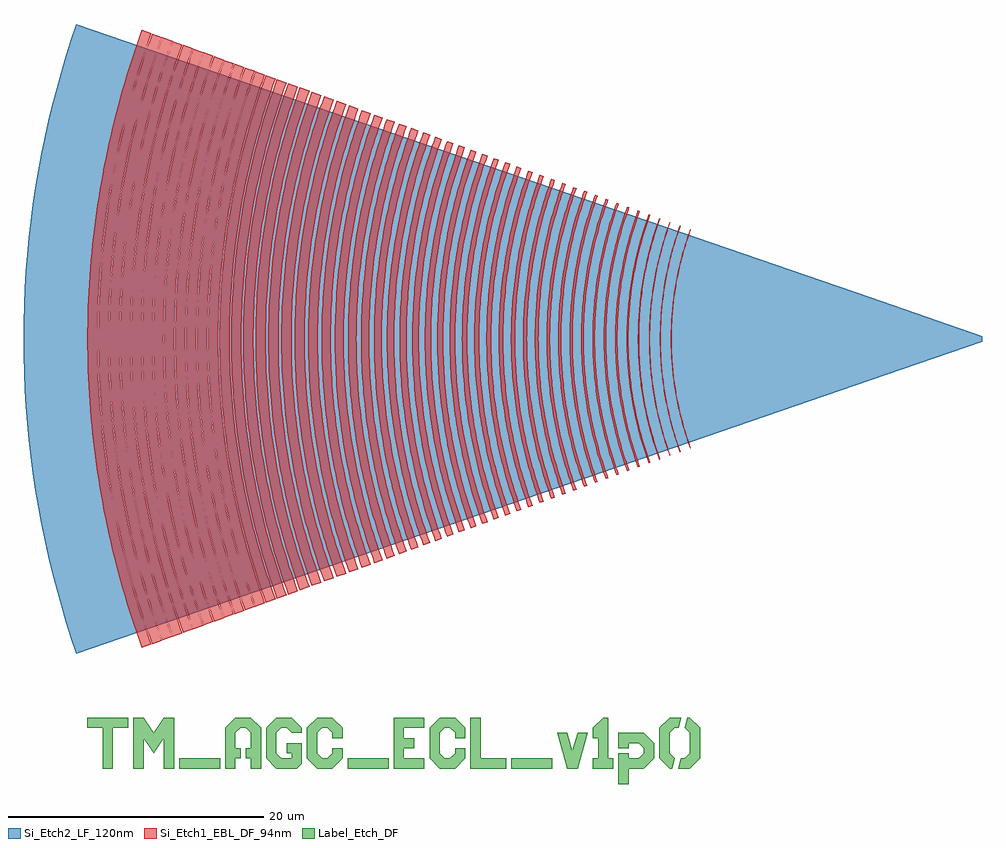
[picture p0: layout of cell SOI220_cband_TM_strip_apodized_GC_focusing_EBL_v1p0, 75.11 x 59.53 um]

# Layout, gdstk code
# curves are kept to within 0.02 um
import gdstk
lib = gdstk.Library(unit=1e-6, precision=1e-09)
def R(c, l, rs):  # rectangles x0, y0, x1, y1
    for r in rs: c.add(gdstk.rectangle(r[:2], r[2:], *l))
def P(c, l, *ps):  # polygons
    for p in ps: c.add(gdstk.Polygon(p, *l))
Si_Etch2_LF_120nm = (3, 0)
Si_Etch1_EBL_DF_94nm = (60, 0)
Label_Etch_DF = (100, 0)

text_gdsfactorypcomponen = lib.new_cell('text_gdsfactorypcomponentsptextsptext_TTM_AGC_ECL_v1p0__5491b286')
R(text_gdsfactorypcomponen, Label_Etch_DF, [(7.6,0,10.8,0.8), (20.8,0,24,0.8), (33.6,0,36.8,0.8)])
P(text_gdsfactorypcomponen, Label_Etch_DF, [(38,0),(37.2,2.8),(38,2.8),(38.4,1.4),(38.8,2.8),(39.6,2.8),(38.8,0)],
  [(42,-1.2),(42,1.2),(42.8,1.2),(42.8,0.8),(43.6,0.8),(44,1.2),(44,1.6),(43.6,2),(42.8,2),(42.8,1.6),(42,1.6),(42,2.8),(44,2.8),(44.8,2),(44.8,0.8),(44,0),(42.8,0),(42.8,-1.2)],
  [(1.6,0),(1.6,3.2),(0.4,3.2),(0.4,4),(3.6,4),(3.6,3.2),(2.4,3.2),(2.4,0)],
  [(4,0),(4,4),(4.8,4),(5.6,2.8),(6.4,4),(7.2,4),(7.2,0),(6.4,0),(6.4,2.4),(5.6,1.2),(4.8,2.4),(4.8,0)],
  [(11.196,0),(11.2,3.2),(12,4),(13.204,4),(14,3.2),(14,0),(13.204,0),(13.204,0.8),(12.8,0.8),(12.8,1.6),(13.204,1.6),(13.204,2.8),(12.8,3.2),(12.4,3.2),(12,2.8),(12,1.6),(12.4,1.6),(12.4,0.8),(12,0.8),(12,0)],
  [(15.2,0),(14.4,0.8),(14.4,3.2),(15.2,4),(16.4,4),(17.2,3.2),(17.2,2.8),(16.4,2.8),(16,3.2),(15.6,3.2),(15.2,2.8),(15.2,1.2),(15.6,0.8),(16.4,0.8),(16.4,1.2),(16,1.2),(16,2),(17.2,2),(17.2,0.4),(16.8,0)],
  [(18.4,0),(17.6,0.8),(17.6,3.2),(18.4,4),(19.6,4),(20.4,3.2),(20.4,2.4),(19.6,2.4),(19.6,2.8),(19.2,3.2),(18.8,3.2),(18.4,2.8),(18.4,1.2),(18.8,0.8),(19.2,0.8),(19.6,1.2),(19.6,1.6),(20.4,1.6),(20.4,0.8),(19.6,0)],
  [(24.4,0),(24.4,4),(26.8,4),(26.8,3.2),(25.2,3.2),(25.2,2.4),(26,2.4),(26,1.6),(25.2,1.6),(25.2,0.8),(26.8,0.8),(26.8,0)],
  [(28,0),(27.2,0.8),(27.2,3.2),(28,4),(29.2,4),(30,3.2),(30,2.4),(29.2,2.4),(29.2,2.8),(28.8,3.2),(28.4,3.2),(28,2.8),(28,1.2),(28.4,0.8),(28.8,0.8),(29.2,1.2),(29.2,1.6),(30,1.6),(30,0.8),(29.2,0)],
  [(30.4,0),(30.4,4),(31.2,4),(31.2,0.8),(33.2,0.8),(33.2,0)],
  [(40,0),(40,0.8),(40.4,0.8),(40.4,2.4),(40,2.4),(40,3.2),(40.8,4),(41.2,4),(41.2,0.8),(41.6,0.8),(41.6,0)],
  [(46,0),(45.2,0.8),(45.2,3.2),(46,4),(46.92,4),(46.72,3.2),(46.4,3.2),(46,2.8),(46,1.2),(46.4,0.8),(46.2,0)],
  [(46.68,0),(46.88,0.8),(47.2,0.8),(47.6,1.2),(47.6,2.8),(47.2,3.2),(47.4,4),(47.6,4),(48.4,3.2),(48.4,0.8),(47.6,0)])

soi220_cband_tm_strip_ap = lib.new_cell('SOI220_cband_TM_strip_apodized_GC_focusing_EBL_v1p0')
P(soi220_cband_tm_strip_ap, Si_Etch2_LF_120nm, [(-70.984,-24.667),(-71.801,-22.152),(-72.53,-19.609),(-73.17,-17.043),(-73.72,-14.457),(-73.961,-13.156),(-74.375,-10.544),(-74.697,-7.92),(-74.824,-6.603),(-75.008,-3.965),(-75.066,-2.644),(-75.112,0),(-75.066,2.644),(-75.008,3.965),(-74.824,6.603),(-74.697,7.92),(-74.375,10.544),(-73.961,13.156),(-73.72,14.457),(-73.17,17.043),(-72.53,19.609),(-71.801,22.152),(-70.984,24.667),(0,0.225),(0,-0.225)])
P(soi220_cband_tm_strip_ap, Si_Etch1_EBL_DF_94nm, [(-22.895,-8.571),(-23.042,-8.159),(-23.247,-7.536),(-23.437,-6.908),(-23.553,-6.486),(-23.813,-5.424),(-23.947,-4.781),(-24.026,-4.351),(-24.131,-3.704),(-24.221,-3.054),(-24.312,-2.184),(-24.383,-1.093),(-24.407,0),(-24.383,1.093),(-24.312,2.184),(-24.221,3.054),(-24.131,3.704),(-24.026,4.351),(-23.947,4.781),(-23.813,5.424),(-23.553,6.486),(-23.437,6.908),(-23.247,7.536),(-23.042,8.159),(-22.895,8.571),(-22.839,8.551),(-23.055,7.933),(-23.255,7.309),(-23.438,6.681),(-23.604,6.048),(-23.801,5.198),(-24.004,4.126),(-24.161,3.047),(-24.252,2.179),(-24.323,1.09),(-24.347,0),(-24.323,-1.09),(-24.252,-2.179),(-24.161,-3.047),(-24.004,-4.126),(-23.801,-5.198),(-23.604,-6.048),(-23.438,-6.681),(-23.255,-7.309),(-23.055,-7.933),(-22.839,-8.551)],
  [(-23.702,-8.864),(-23.925,-8.224),(-24.064,-7.793),(-24.197,-7.361),(-24.381,-6.707),(-24.65,-5.609),(-24.744,-5.167),(-24.87,-4.5),(-24.945,-4.054),(-25.042,-3.383),(-25.098,-2.934),(-25.166,-2.259),(-25.216,-1.583),(-25.239,-1.131),(-25.255,-0.679),(-25.264,0),(-25.255,0.679),(-25.239,1.131),(-25.216,1.583),(-25.166,2.259),(-25.098,2.934),(-25.042,3.383),(-24.945,4.054),(-24.87,4.5),(-24.744,5.167),(-24.65,5.609),(-24.381,6.707),(-24.197,7.361),(-24.064,7.793),(-23.925,8.224),(-23.702,8.864),(-23.645,8.844),(-23.868,8.205),(-24.074,7.56),(-24.264,6.91),(-24.436,6.255),(-24.685,5.155),(-24.849,4.268),(-24.983,3.375),(-25.106,2.254),(-25.156,1.579),(-25.179,1.128),(-25.195,0.677),(-25.204,0),(-25.195,-0.677),(-25.179,-1.128),(-25.156,-1.579),(-25.106,-2.254),(-24.983,-3.375),(-24.849,-4.268),(-24.685,-5.155),(-24.436,-6.255),(-24.264,-6.91),(-24.074,-7.56),(-23.868,-8.205),(-23.645,-8.844)],
  [(-24.496,-9.153),(-24.726,-8.492),(-24.87,-8.047),(-25.073,-7.377),(-25.197,-6.926),(-25.314,-6.475),(-25.475,-5.792),(-25.572,-5.336),(-25.702,-4.647),(-25.815,-3.956),(-25.88,-3.493),(-25.963,-2.797),(-26.007,-2.332),(-26.044,-1.867),(-26.084,-1.168),(-26.1,-0.701),(-26.109,0),(-26.1,0.701),(-26.084,1.168),(-26.044,1.867),(-26.007,2.332),(-25.963,2.797),(-25.88,3.493),(-25.815,3.956),(-25.702,4.647),(-25.572,5.336),(-25.475,5.792),(-25.314,6.475),(-25.197,6.926),(-25.073,7.377),(-24.87,8.047),(-24.726,8.492),(-24.496,9.153),(-24.439,9.133),(-24.669,8.473),(-24.882,7.807),(-25.078,7.136),(-25.256,6.46),(-25.365,6.007),(-25.513,5.324),(-25.683,4.407),(-25.756,3.947),(-25.85,3.254),(-25.903,2.791),(-25.967,2.095),(-26.024,1.165),(-26.04,0.699),(-26.049,0),(-26.045,-0.466),(-26.024,-1.165),(-25.967,-2.095),(-25.903,-2.791),(-25.85,-3.254),(-25.756,-3.947),(-25.683,-4.407),(-25.513,-5.324),(-25.365,-6.007),(-25.256,-6.46),(-25.078,-7.136),(-24.882,-7.807),(-24.669,-8.473),(-24.439,-9.133)],
  [(-25.317,-9.453),(-25.705,-8.31),(-26.042,-7.153),(-26.329,-5.982),(-26.564,-4.8),(-26.747,-3.607),(-26.879,-2.408),(-26.958,-1.206),(-26.984,0),(-26.958,1.206),(-26.879,2.408),(-26.747,3.607),(-26.564,4.8),(-26.329,5.982),(-26.042,7.153),(-25.705,8.31),(-25.317,9.453),(-25.238,9.424),(-25.625,8.285),(-25.961,7.131),(-26.247,5.964),(-26.394,5.257),(-26.522,4.548),(-26.695,3.358),(-26.815,2.162),(-26.874,1.202),(-26.9,0),(-26.874,-1.202),(-26.815,-2.162),(-26.695,-3.358),(-26.522,-4.548),(-26.394,-5.257),(-26.247,-5.964),(-25.961,-7.131),(-25.625,-8.285),(-25.238,-9.424)],
  [(-26.146,-9.754),(-26.546,-8.576),(-26.895,-7.381),(-27.19,-6.173),(-27.433,-4.952),(-27.622,-3.722),(-27.758,-2.485),(-27.839,-1.244),(-27.866,0),(-27.839,1.244),(-27.758,2.485),(-27.622,3.722),(-27.433,4.952),(-27.19,6.173),(-26.895,7.381),(-26.546,8.576),(-26.146,9.754),(-26.022,9.709),(-26.494,8.3),(-26.83,7.108),(-27.114,5.902),(-27.385,4.441),(-27.552,3.213),(-27.646,2.227),(-27.717,0.991),(-27.734,0),(-27.717,-0.991),(-27.646,-2.227),(-27.552,-3.213),(-27.385,-4.441),(-27.114,-5.902),(-26.83,-7.108),(-26.494,-8.3),(-26.022,-9.709)],
  [(-26.988,-10.06),(-27.477,-8.601),(-27.759,-7.613),(-28.065,-6.367),(-28.315,-5.108),(-28.511,-3.84),(-28.65,-2.564),(-28.734,-1.283),(-28.762,0),(-28.734,1.283),(-28.65,2.564),(-28.511,3.84),(-28.315,5.108),(-28.065,6.367),(-27.759,7.613),(-27.477,8.601),(-26.988,10.06),(-26.832,10.004),(-27.318,8.552),(-27.664,7.323),(-27.957,6.081),(-28.236,4.576),(-28.378,3.565),(-28.506,2.295),(-28.568,1.276),(-28.596,0),(-28.578,-1.021),(-28.506,-2.295),(-28.378,-3.565),(-28.236,-4.576),(-27.957,-6.081),(-27.664,-7.323),(-27.318,-8.552),(-26.832,-10.004)],
  [(-27.829,-10.366),(-28.255,-9.115),(-28.624,-7.845),(-28.939,-6.56),(-29.196,-5.264),(-29.397,-3.956),(-29.541,-2.642),(-29.628,-1.322),(-29.657,0),(-29.628,1.322),(-29.541,2.642),(-29.397,3.956),(-29.196,5.264),(-28.939,6.56),(-28.624,7.845),(-28.255,9.115),(-27.829,10.366),(-27.659,10.305),(-28.16,8.809),(-28.516,7.544),(-28.818,6.264),(-29.105,4.713),(-29.282,3.411),(-29.383,2.364),(-29.458,1.051),(-29.476,0),(-29.458,-1.051),(-29.383,-2.364),(-29.282,-3.411),(-29.105,-4.713),(-28.818,-6.264),(-28.516,-7.544),(-28.16,-8.809),(-27.659,-10.305)],
  [(-28.657,-10.667),(-29.095,-9.379),(-29.475,-8.072),(-29.799,-6.751),(-30.064,-5.416),(-30.271,-4.071),(-30.419,-2.719),(-30.508,-1.361),(-30.538,0),(-30.508,1.361),(-30.419,2.719),(-30.271,4.071),(-30.064,5.416),(-29.799,6.751),(-29.475,8.072),(-29.095,9.379),(-28.657,10.667),(-28.485,10.605),(-28.92,9.324),(-29.367,7.764),(-29.733,6.182),(-29.973,4.851),(-30.156,3.51),(-30.259,2.433),(-30.336,1.082),(-30.355,0),(-30.336,-1.082),(-30.259,-2.433),(-30.156,-3.51),(-29.973,-4.851),(-29.733,-6.182),(-29.367,-7.764),(-28.92,-9.324),(-28.485,-10.605)],
  [(-29.501,-10.974),(-29.951,-9.65),(-30.342,-8.305),(-30.675,-6.946),(-30.949,-5.572),(-31.161,-4.188),(-31.314,-2.797),(-31.406,-1.4),(-31.436,0),(-31.406,1.4),(-31.314,2.797),(-31.161,4.188),(-30.949,5.572),(-30.675,6.946),(-30.342,8.305),(-29.951,9.65),(-29.501,10.974),(-29.311,10.906),(-29.841,9.323),(-30.218,7.984),(-30.594,6.357),(-30.841,4.988),(-31.029,3.61),(-31.136,2.502),(-31.215,1.113),(-31.234,0),(-31.215,-1.113),(-31.136,-2.502),(-31.029,-3.61),(-30.841,-4.988),(-30.594,-6.357),(-30.218,-7.984),(-29.841,-9.323),(-29.311,-10.906)],
  [(-30.347,-11.282),(-30.81,-9.92),(-31.212,-8.538),(-31.554,-7.14),(-31.835,-5.728),(-32.054,-4.307),(-32.21,-2.876),(-32.305,-1.439),(-32.336,0),(-32.305,1.439),(-32.21,2.876),(-32.054,4.307),(-31.835,5.728),(-31.554,7.14),(-31.212,8.538),(-30.81,9.92),(-30.347,11.282),(-30.135,11.206),(-30.595,9.852),(-31.067,8.203),(-31.395,6.812),(-31.708,5.125),(-31.867,3.993),(-32.01,2.571),(-32.08,1.429),(-32.111,0),(-32.08,-1.429),(-32.01,-2.571),(-31.867,-3.993),(-31.708,-5.125),(-31.395,-6.812),(-31.067,-8.203),(-30.595,-9.852),(-30.135,-11.206)],
  [(-31.193,-11.59),(-31.668,-10.19),(-32.081,-8.771),(-32.432,-7.335),(-32.721,-5.885),(-32.946,-4.423),(-33.107,-2.954),(-33.204,-1.479),(-33.236,0),(-33.204,1.479),(-33.107,2.954),(-32.946,4.423),(-32.721,5.885),(-32.432,7.335),(-32.081,8.771),(-31.668,10.19),(-31.193,11.59),(-30.967,11.509),(-31.526,9.838),(-31.924,8.425),(-32.261,6.996),(-32.582,5.264),(-32.78,3.809),(-32.892,2.64),(-32.976,1.174),(-32.996,0),(-32.976,-1.174),(-32.892,-2.64),(-32.78,-3.809),(-32.582,-5.264),(-32.261,-6.996),(-31.924,-8.425),(-31.526,-9.838),(-30.967,-11.509)],
  [(-32.04,-11.897),(-32.527,-10.461),(-32.951,-9.005),(-33.313,-7.529),(-33.608,-6.041),(-33.84,-4.541),(-34.005,-3.032),(-34.104,-1.517),(-34.137,0),(-34.104,1.517),(-34.005,3.032),(-33.84,4.541),(-33.608,6.041),(-33.313,7.529),(-32.951,9.005),(-32.527,10.461),(-32.04,11.897),(-31.794,11.81),(-32.278,10.383),(-32.776,8.645),(-33.183,6.884),(-33.497,5.104),(-33.654,3.909),(-33.77,2.709),(-33.855,1.205),(-33.876,0),(-33.855,-1.205),(-33.77,-2.709),(-33.654,-3.909),(-33.497,-5.104),(-33.183,-6.884),(-32.776,-8.645),(-32.278,-10.383),(-31.794,-11.81)],
  [(-32.903,-12.212),(-33.404,-10.738),(-33.84,-9.243),(-34.21,-7.729),(-34.515,-6.201),(-34.752,-4.661),(-34.921,-3.113),(-35.023,-1.557),(-35.057,0),(-35.023,1.557),(-34.921,3.113),(-34.752,4.661),(-34.515,6.201),(-34.21,7.729),(-33.84,9.243),(-33.404,10.738),(-32.903,12.212),(-32.639,12.117),(-33.136,10.654),(-33.648,8.871),(-34.065,7.063),(-34.387,5.237),(-34.582,3.703),(-34.69,2.471),(-34.754,1.236),(-34.776,0),(-34.754,-1.236),(-34.69,-2.471),(-34.582,-3.703),(-34.387,-5.237),(-34.065,-7.063),(-33.648,-8.871),(-33.136,-10.654),(-32.639,-12.117)],
  [(-33.778,-12.53),(-34.292,-11.018),(-34.738,-9.483),(-35.119,-7.93),(-35.43,-6.362),(-35.673,-4.783),(-35.848,-3.193),(-35.952,-1.599),(-35.987,0),(-35.952,1.599),(-35.848,3.193),(-35.673,4.783),(-35.43,6.362),(-35.119,7.93),(-34.738,9.483),(-34.292,11.018),(-33.778,12.53),(-33.485,12.425),(-34.089,10.622),(-34.597,8.789),(-35.009,6.932),(-35.277,5.37),(-35.477,3.797),(-35.588,2.534),(-35.654,1.268),(-35.676,0),(-35.654,-1.268),(-35.588,-2.534),(-35.477,-3.797),(-35.277,-5.37),(-35.009,-6.932),(-34.597,-8.789),(-34.089,-10.622),(-33.485,-12.425)],
  [(-34.669,-12.855),(-35.196,-11.303),(-35.654,-9.728),(-36.044,-8.136),(-36.364,-6.527),(-36.613,-4.906),(-36.792,-3.276),(-36.9,-1.639),(-36.935,0),(-36.9,1.639),(-36.792,3.276),(-36.613,4.906),(-36.364,6.527),(-36.044,8.136),(-35.654,9.728),(-35.196,11.303),(-34.669,12.855),(-34.358,12.743),(-34.881,11.204),(-35.418,9.329),(-35.857,7.428),(-36.196,5.507),(-36.366,4.218),(-36.49,2.923),(-36.57,1.625),(-36.605,0),(-36.57,-1.625),(-36.49,-2.923),(-36.366,-4.218),(-36.196,-5.507),(-35.857,-7.428),(-35.418,-9.329),(-34.881,-11.204),(-34.358,-12.743)],
  [(-35.567,-13.182),(-36.108,-11.59),(-36.578,-9.976),(-36.977,-8.343),(-37.306,-6.692),(-37.561,-5.031),(-37.745,-3.359),(-37.855,-1.681),(-37.891,0),(-37.855,1.681),(-37.745,3.359),(-37.561,5.031),(-37.306,6.692),(-36.977,8.343),(-36.578,9.976),(-36.108,11.59),(-35.567,13.182),(-35.232,13.061),(-35.768,11.483),(-36.319,9.562),(-36.768,7.613),(-37.116,5.645),(-37.29,4.323),(-37.442,2.664),(-37.512,1.333),(-37.535,0),(-37.512,-1.333),(-37.442,-2.664),(-37.29,-4.323),(-37.116,-5.645),(-36.768,-7.613),(-36.319,-9.562),(-35.768,-11.483),(-35.232,-13.061)],
  [(-36.47,-13.511),(-37.024,-11.879),(-37.506,-10.224),(-37.915,-8.55),(-38.252,-6.86),(-38.514,-5.156),(-38.702,-3.443),(-38.815,-1.724),(-38.852,0),(-38.815,1.724),(-38.702,3.443),(-38.514,5.156),(-38.252,6.86),(-37.915,8.55),(-37.506,10.224),(-37.024,11.879),(-36.47,13.511),(-36.116,13.383),(-36.665,11.766),(-37.23,9.797),(-37.69,7.801),(-38.046,5.784),(-38.262,4.09),(-38.381,2.73),(-38.452,1.366),(-38.476,0),(-38.452,-1.366),(-38.381,-2.73),(-38.262,-4.09),(-38.046,-5.784),(-37.69,-7.801),(-37.23,-9.797),(-36.665,-11.766),(-36.116,-13.383)],
  [(-37.371,-13.837),(-37.938,-12.168),(-38.432,-10.472),(-38.851,-8.757),(-39.195,-7.026),(-39.464,-5.281),(-39.657,-3.526),(-39.772,-1.766),(-39.81,0),(-39.772,1.766),(-39.657,3.526),(-39.464,5.281),(-39.195,7.026),(-38.851,8.757),(-38.432,10.472),(-37.938,12.168),(-37.371,13.837),(-36.999,13.704),(-37.561,12.049),(-38.139,10.032),(-38.611,7.988),(-38.975,5.922),(-39.196,4.188),(-39.317,2.795),(-39.391,1.398),(-39.415,0),(-39.391,-1.398),(-39.317,-2.795),(-39.196,-4.188),(-38.975,-5.922),(-38.611,-7.988),(-38.139,-10.032),(-37.561,-12.049),(-36.999,-13.704)],
  [(-38.271,-14.165),(-38.852,-12.456),(-39.358,-10.721),(-39.787,-8.965),(-40.14,-7.193),(-40.414,-5.406),(-40.611,-3.611),(-40.73,-1.807),(-40.769,0),(-40.73,1.807),(-40.611,3.611),(-40.414,5.406),(-40.14,7.193),(-39.787,8.965),(-39.358,10.721),(-38.852,12.456),(-38.271,14.165),(-37.878,14.024),(-38.453,12.33),(-39.045,10.267),(-39.528,8.175),(-39.901,6.061),(-40.087,4.642),(-40.225,3.217),(-40.312,1.789),(-40.351,0),(-40.312,-1.789),(-40.225,-3.217),(-40.087,-4.642),(-39.901,-6.061),(-39.528,-8.175),(-39.045,-10.267),(-38.453,-12.33),(-37.878,-14.024)],
  [(-39.177,-14.496),(-39.772,-12.746),(-40.289,-10.97),(-40.729,-9.173),(-41.089,-7.36),(-41.37,-5.532),(-41.571,-3.695),(-41.693,-1.849),(-41.733,0),(-41.693,1.849),(-41.571,3.695),(-41.37,5.532),(-41.089,7.36),(-40.729,9.173),(-40.289,10.97),(-39.772,12.746),(-39.177,14.496),(-38.761,14.346),(-39.458,12.263),(-40.045,10.147),(-40.52,8.003),(-40.883,5.837),(-41.061,4.384),(-41.189,2.926),(-41.265,1.464),(-41.291,0),(-41.265,-1.464),(-41.189,-2.926),(-41.061,-4.384),(-40.883,-5.837),(-40.52,-8.003),(-40.045,-10.147),(-39.458,-12.263),(-38.761,-14.346)],
  [(-40.088,-14.827),(-40.696,-13.038),(-41.226,-11.221),(-41.675,-9.384),(-42.044,-7.529),(-42.332,-5.659),(-42.538,-3.779),(-42.662,-1.892),(-42.703,0),(-42.662,1.892),(-42.538,3.779),(-42.332,5.659),(-42.044,7.529),(-41.675,9.384),(-41.226,11.221),(-40.696,13.038),(-40.088,14.827),(-39.649,14.669),(-40.251,12.897),(-40.775,11.1),(-41.219,9.283),(-41.584,7.448),(-41.869,5.598),(-42.073,3.738),(-42.195,1.871),(-42.236,0),(-42.195,-1.871),(-42.073,-3.738),(-41.869,-5.598),(-41.584,-7.448),(-41.219,-9.283),(-40.775,-11.1),(-40.251,-12.897),(-39.649,-14.669)],
  [(-41.007,-15.16),(-41.628,-13.331),(-42.169,-11.475),(-42.629,-9.596),(-43.006,-7.699),(-43.301,-5.786),(-43.511,-3.864),(-43.638,-1.933),(-43.68,0),(-43.638,1.933),(-43.511,3.864),(-43.301,5.786),(-43.006,7.699),(-42.629,9.596),(-42.169,11.475),(-41.628,13.331),(-41.007,15.16),(-40.543,14.994),(-41.158,13.183),(-41.693,11.347),(-42.148,9.489),(-42.521,7.613),(-42.812,5.722),(-43.02,3.821),(-43.145,1.912),(-43.187,0),(-43.145,-1.912),(-43.02,-3.821),(-42.812,-5.722),(-42.521,-7.613),(-42.148,-9.489),(-41.693,-11.347),(-41.158,-13.183),(-40.543,-14.994)],
  [(-41.93,-15.498),(-42.566,-13.628),(-43.119,-11.728),(-43.589,-9.808),(-43.974,-7.869),(-44.276,-5.915),(-44.491,-3.949),(-44.62,-1.977),(-44.663,0),(-44.62,1.977),(-44.491,3.949),(-44.276,5.915),(-43.974,7.869),(-43.589,9.808),(-43.119,11.728),(-42.566,13.628),(-41.93,15.498),(-41.442,15.321),(-42.071,13.471),(-42.618,11.594),(-43.082,9.696),(-43.463,7.779),(-43.761,5.847),(-43.974,3.904),(-44.101,1.954),(-44.144,0),(-44.101,-1.954),(-43.974,-3.904),(-43.761,-5.847),(-43.463,-7.779),(-43.082,-9.696),(-42.618,-11.594),(-42.071,-13.471),(-41.442,-15.321)],
  [(-42.861,-15.836),(-43.51,-13.925),(-44.076,-11.985),(-44.555,-10.022),(-44.95,-8.04),(-45.257,-6.044),(-45.477,-4.036),(-45.608,-2.02),(-45.653,0),(-45.608,2.02),(-45.477,4.036),(-45.257,6.044),(-44.95,8.04),(-44.555,10.022),(-44.076,11.985),(-43.51,13.925),(-42.861,15.836),(-42.347,15.651),(-42.989,13.76),(-43.548,11.844),(-44.022,9.904),(-44.412,7.946),(-44.716,5.973),(-44.933,3.988),(-45.063,1.996),(-45.107,0),(-45.063,-1.996),(-44.933,-3.988),(-44.716,-5.973),(-44.412,-7.946),(-44.022,-9.904),(-43.548,-11.844),(-42.989,-13.76),(-42.347,-15.651)],
  [(-43.799,-16.177),(-44.461,-14.225),(-45.039,-12.244),(-45.529,-10.239),(-45.932,-8.214),(-46.246,-6.174),(-46.471,-4.123),(-46.606,-2.063),(-46.651,0),(-46.606,2.063),(-46.471,4.123),(-46.246,6.174),(-45.932,8.214),(-45.529,10.239),(-45.039,12.244),(-44.461,14.225),(-43.799,16.177),(-43.259,15.983),(-43.914,14.052),(-44.485,12.095),(-44.969,10.114),(-45.367,8.115),(-45.677,6.099),(-45.899,4.073),(-46.033,2.038),(-46.077,0),(-46.033,-2.038),(-45.899,-4.073),(-45.677,-6.099),(-45.367,-8.115),(-44.969,-10.114),(-44.485,-12.095),(-43.914,-14.052),(-43.259,-15.983)],
  [(-44.743,-16.521),(-45.42,-14.527),(-46.01,-12.503),(-46.511,-10.456),(-46.922,-8.389),(-47.243,-6.305),(-47.472,-4.211),(-47.61,-2.107),(-47.656,0),(-47.61,2.107),(-47.472,4.211),(-47.243,6.305),(-46.922,8.389),(-46.511,10.456),(-46.01,12.503),(-45.42,14.527),(-44.743,16.521),(-44.177,16.317),(-44.846,14.346),(-45.428,12.347),(-45.923,10.326),(-46.329,8.284),(-46.646,6.227),(-46.872,4.158),(-47.009,2.081),(-47.054,0),(-47.009,-2.081),(-46.872,-4.158),(-46.646,-6.227),(-46.329,-8.284),(-45.923,-10.326),(-45.428,-12.347),(-44.846,-14.346),(-44.177,-16.317)],
  [(-45.698,-16.867),(-46.388,-14.832),(-46.99,-12.766),(-47.502,-10.676),(-47.921,-8.564),(-48.249,-6.439),(-48.484,-4.299),(-48.624,-2.152),(-48.671,0),(-48.624,2.152),(-48.484,4.299),(-48.249,6.439),(-47.921,8.564),(-47.502,10.676),(-46.99,12.766),(-46.388,14.832),(-45.698,16.867),(-45.103,16.654),(-45.785,14.642),(-46.38,12.602),(-46.885,10.539),(-47.299,8.455),(-47.622,6.356),(-47.854,4.244),(-47.993,2.124),(-48.039,0),(-47.993,-2.124),(-47.854,-4.244),(-47.622,-6.356),(-47.299,-8.455),(-46.885,-10.539),(-46.38,-12.602),(-45.785,-14.642),(-45.103,-16.654)],
  [(-46.659,-17.216),(-47.363,-15.14),(-47.979,-13.03),(-48.5,-10.897),(-48.929,-8.743),(-49.263,-6.572),(-49.502,-4.388),(-49.646,-2.196),(-49.694,0),(-49.646,2.196),(-49.502,4.388),(-49.263,6.572),(-48.929,8.743),(-48.5,10.897),(-47.979,13.03),(-47.363,15.14),(-46.659,17.216),(-46.036,16.993),(-46.732,14.941),(-47.339,12.859),(-47.854,10.754),(-48.277,8.628),(-48.607,6.485),(-48.843,4.33),(-48.985,2.167),(-49.032,0),(-48.985,-2.167),(-48.843,-4.33),(-48.607,-6.485),(-48.277,-8.628),(-47.854,-10.754),(-47.339,-12.859),(-46.732,-14.941),(-46.036,-16.993)],
  [(-47.627,-17.57),(-48.347,-15.45),(-48.974,-13.298),(-49.508,-11.119),(-49.944,-8.922),(-50.285,-6.706),(-50.529,-4.478),(-50.676,-2.241),(-50.725,0),(-50.676,2.241),(-50.529,4.478),(-50.285,6.706),(-49.944,8.922),(-49.508,11.119),(-48.974,13.298),(-48.347,15.45),(-47.627,17.57),(-46.976,17.336),(-47.687,15.242),(-48.306,13.119),(-48.832,10.97),(-49.263,8.802),(-49.599,6.616),(-49.84,4.418),(-49.985,2.211),(-50.033,0),(-49.985,-2.211),(-49.84,-4.418),(-49.599,-6.616),(-49.263,-8.802),(-48.832,-10.97),(-48.306,-13.119),(-47.687,-15.242),(-46.976,-17.336)],
  [(-48.605,-17.926),(-49.34,-15.762),(-49.98,-13.567),(-50.524,-11.345),(-50.97,-9.103),(-51.318,-6.843),(-51.566,-4.569),(-51.716,-2.287),(-51.766,0),(-51.716,2.287),(-51.566,4.569),(-51.318,6.843),(-50.97,9.103),(-50.524,11.345),(-49.98,13.567),(-49.34,15.762),(-48.605,17.926),(-47.924,17.681),(-48.649,15.545),(-49.281,13.38),(-49.817,11.189),(-50.257,8.977),(-50.6,6.748),(-50.845,4.506),(-50.993,2.255),(-51.042,0),(-50.993,-2.255),(-50.845,-4.506),(-50.6,-6.748),(-50.257,-8.977),(-49.817,-11.189),(-49.281,-13.38),(-48.649,-15.545),(-47.924,-17.681)],
  [(-49.593,-18.284),(-50.341,-16.079),(-50.994,-13.839),(-51.548,-11.573),(-52.003,-9.285),(-52.359,-6.979),(-52.612,-4.661),(-52.765,-2.332),(-52.816,0),(-52.765,2.332),(-52.612,4.661),(-52.359,6.979),(-52.003,9.285),(-51.548,11.573),(-50.994,13.839),(-50.341,16.079),(-49.593,18.284),(-48.881,18.029),(-49.62,15.851),(-50.264,13.643),(-50.81,11.409),(-51.259,9.154),(-51.609,6.88),(-51.859,4.594),(-52.01,2.299),(-52.06,0),(-52.01,-2.299),(-51.859,-4.594),(-51.609,-6.88),(-51.259,-9.154),(-50.81,-11.409),(-50.264,-13.643),(-49.62,-15.851),(-48.881,-18.029)],
  [(-50.587,-18.647),(-51.351,-16.397),(-52.017,-14.113),(-52.582,-11.802),(-53.047,-9.469),(-53.408,-7.117),(-53.668,-4.752),(-53.823,-2.378),(-53.875,0),(-53.823,2.378),(-53.668,4.752),(-53.408,7.117),(-53.047,9.469),(-52.582,11.802),(-52.017,14.113),(-51.351,16.397),(-50.587,18.647),(-49.845,18.38),(-50.599,16.16),(-51.255,13.909),(-51.812,11.631),(-52.27,9.332),(-52.626,7.014),(-52.882,4.684),(-53.035,2.344),(-53.086,0),(-53.035,-2.344),(-52.882,-4.684),(-52.626,-7.014),(-52.27,-9.332),(-51.812,-11.631),(-51.255,-13.909),(-50.599,-16.16),(-49.845,-18.38)],
  [(-51.571,-19.003),(-52.349,-16.712),(-53.028,-14.384),(-53.604,-12.028),(-54.077,-9.65),(-54.445,-7.254),(-54.71,-4.843),(-54.868,-2.424),(-54.921,0),(-54.868,2.424),(-54.71,4.843),(-54.445,7.254),(-54.077,9.65),(-53.604,12.028),(-53.028,14.384),(-52.349,16.712),(-51.571,19.003),(-50.818,18.734),(-51.586,16.471),(-52.255,14.177),(-52.823,11.855),(-53.289,9.511),(-53.652,7.149),(-53.913,4.774),(-54.069,2.389),(-54.121,0),(-54.069,-2.389),(-53.913,-4.774),(-53.652,-7.149),(-53.289,-9.511),(-52.823,-11.855),(-52.255,-14.177),(-51.586,-16.471),(-50.818,-18.734)],
  [(-52.53,-19.354),(-53.323,-17.019),(-54.014,-14.648),(-54.6,-12.249),(-55.082,-9.828),(-55.458,-7.387),(-55.727,-4.933),(-55.888,-2.469),(-55.942,0),(-55.888,2.469),(-55.727,4.933),(-55.458,7.387),(-55.082,9.828),(-54.6,12.249),(-54.014,14.648),(-53.323,17.019),(-52.53,19.354),(-51.777,19.083),(-52.56,16.778),(-53.241,14.441),(-53.819,12.076),(-54.294,9.689),(-54.665,7.283),(-54.93,4.863),(-55.089,2.434),(-55.142,0),(-55.089,-2.434),(-54.93,-4.863),(-54.665,-7.283),(-54.294,-9.689),(-53.819,-12.076),(-53.241,-14.441),(-52.56,-16.778),(-51.777,-19.083)],
  [(-53.466,-19.695),(-54.273,-17.318),(-54.976,-14.906),(-55.573,-12.466),(-56.063,-10.001),(-56.445,-7.518),(-56.719,-5.019),(-56.883,-2.512),(-56.938,0),(-56.883,2.512),(-56.719,5.019),(-56.445,7.518),(-56.063,10.001),(-55.573,12.466),(-54.976,14.906),(-54.273,17.318),(-53.466,19.695),(-52.713,19.424),(-53.51,17.077),(-54.203,14.699),(-54.792,12.292),(-55.275,9.862),(-55.652,7.413),(-55.922,4.95),(-56.084,2.477),(-56.138,0),(-56.084,-2.477),(-55.922,-4.95),(-55.652,-7.413),(-55.275,-9.862),(-54.792,-12.292),(-54.203,-14.699),(-53.51,-17.077),(-52.713,-19.424)],
  [(-54.378,-20.025),(-55.198,-17.61),(-55.913,-15.157),(-56.52,-12.675),(-57.018,-10.169),(-57.407,-7.643),(-57.685,-5.104),(-57.852,-2.554),(-57.908,0),(-57.852,2.554),(-57.685,5.104),(-57.407,7.643),(-57.018,10.169),(-56.52,12.675),(-55.913,15.157),(-55.198,17.61),(-54.378,20.025),(-53.625,19.755),(-54.435,17.369),(-55.14,14.95),(-55.739,12.502),(-56.23,10.03),(-56.614,7.539),(-56.888,5.034),(-57.053,2.519),(-57.108,0),(-57.053,-2.519),(-56.888,-5.034),(-56.614,-7.539),(-56.23,-10.03),(-55.739,-12.502),(-55.14,-14.95),(-54.435,-17.369),(-53.625,-19.755)],
  [(-55.264,-20.348),(-56.097,-17.893),(-56.824,-15.401),(-57.44,-12.879),(-57.947,-10.333),(-58.342,-7.766),(-58.625,-5.185),(-58.794,-2.595),(-58.851,0),(-58.794,2.595),(-58.625,5.185),(-58.342,7.766),(-57.947,10.333),(-57.44,12.879),(-56.824,15.401),(-56.097,17.893),(-55.264,20.348),(-54.511,20.078),(-55.334,17.653),(-56.051,15.194),(-56.659,12.706),(-57.159,10.194),(-57.549,7.662),(-57.828,5.116),(-57.995,2.561),(-58.051,0),(-57.995,-2.561),(-57.828,-5.116),(-57.549,-7.662),(-57.159,-10.194),(-56.659,-12.706),(-56.051,-15.194),(-55.334,-17.653),(-54.511,-20.078)],
  [(-56.124,-20.66),(-56.97,-18.169),(-57.708,-15.638),(-58.334,-13.077),(-58.848,-10.491),(-59.249,-7.887),(-59.536,-5.265),(-59.708,-2.636),(-59.766,0),(-59.708,2.636),(-59.536,5.265),(-59.249,7.887),(-58.848,10.491),(-58.334,13.077),(-57.708,15.638),(-56.97,18.169),(-56.124,20.66),(-55.371,20.391),(-56.207,17.928),(-56.935,15.431),(-57.553,12.904),(-58.06,10.353),(-58.456,7.782),(-58.739,5.196),(-58.909,2.601),(-58.966,0),(-58.909,-2.601),(-58.739,-5.196),(-58.456,-7.782),(-58.06,-10.353),(-57.553,-12.904),(-56.935,-15.431),(-56.207,-17.928),(-55.371,-20.391)],
  [(-56.956,-20.965),(-57.815,-18.434),(-58.563,-15.868),(-59.199,-13.269),(-59.721,-10.646),(-60.127,-8.002),(-60.419,-5.343),(-60.593,-2.674),(-60.652,0),(-60.593,2.674),(-60.419,5.343),(-60.127,8.002),(-59.721,10.646),(-59.199,13.269),(-58.563,15.868),(-57.815,18.434),(-56.956,20.965),(-56.203,20.694),(-57.052,18.194),(-57.79,15.66),(-58.418,13.096),(-58.933,10.507),(-59.334,7.897),(-59.622,5.273),(-59.794,2.639),(-59.852,0),(-59.794,-2.639),(-59.622,-5.273),(-59.334,-7.897),(-58.933,-10.507),(-58.418,-13.096),(-57.79,-15.66),(-57.052,-18.194),(-56.203,-20.694)],
  [(-57.764,-21.258),(-58.635,-18.693),(-59.394,-16.089),(-60.038,-13.455),(-60.568,-10.795),(-60.98,-8.115),(-61.275,-5.418),(-61.453,-2.712),(-61.512,0),(-61.453,2.712),(-61.275,5.418),(-60.98,8.115),(-60.568,10.795),(-60.038,13.455),(-59.394,16.089),(-58.635,18.693),(-57.764,21.258),(-57.011,20.988),(-57.872,18.453),(-58.621,15.882),(-59.257,13.282),(-59.78,10.656),(-60.187,8.01),(-60.478,5.348),(-60.654,2.677),(-60.712,0),(-60.654,-2.677),(-60.478,-5.348),(-60.187,-8.01),(-59.78,-10.656),(-59.257,-13.282),(-58.621,-15.882),(-57.872,-18.453),(-57.011,-20.988)],
  [(-58.572,-21.553),(-59.455,-18.952),(-60.225,-16.312),(-60.878,-13.641),(-61.415,-10.944),(-61.833,-8.227),(-62.132,-5.492),(-62.312,-2.749),(-62.372,0),(-62.312,2.749),(-62.132,5.492),(-61.833,8.227),(-61.415,10.944),(-60.878,13.641),(-60.225,16.312),(-59.455,18.952),(-58.572,21.553),(-57.819,21.282),(-58.692,18.711),(-59.452,16.105),(-60.097,13.468),(-60.627,10.805),(-61.04,8.122),(-61.335,5.423),(-61.513,2.714),(-61.572,0),(-61.513,-2.714),(-61.335,-5.423),(-61.04,-8.122),(-60.627,-10.805),(-60.097,-13.468),(-59.452,-16.105),(-58.692,-18.711),(-57.819,-21.282)],
  [(-59.381,-21.846),(-60.275,-19.211),(-61.055,-16.535),(-61.718,-13.827),(-62.262,-11.094),(-62.685,-8.339),(-62.989,-5.568),(-63.171,-2.787),(-63.232,0),(-63.171,2.787),(-62.989,5.568),(-62.685,8.339),(-62.262,11.094),(-61.718,13.827),(-61.055,16.535),(-60.275,19.211),(-59.381,21.846),(-58.628,21.576),(-59.512,18.97),(-60.282,16.328),(-60.937,13.654),(-61.474,10.955),(-61.892,8.234),(-62.192,5.498),(-62.372,2.752),(-62.432,0),(-62.372,-2.752),(-62.192,-5.498),(-61.892,-8.234),(-61.474,-10.955),(-60.937,-13.654),(-60.282,-16.328),(-59.512,-18.97),(-58.628,-21.576)],
  [(-60.189,-22.14),(-61.095,-19.47),(-61.886,-16.757),(-62.557,-14.014),(-63.109,-11.243),(-63.538,-8.45),(-63.846,-5.643),(-64.03,-2.824),(-64.092,0),(-64.03,2.824),(-63.846,5.643),(-63.538,8.45),(-63.109,11.243),(-62.557,14.014),(-61.886,16.757),(-61.095,19.47),(-60.189,22.14),(-59.436,21.87),(-60.332,19.229),(-61.113,16.55),(-61.776,13.84),(-62.321,11.104),(-62.745,8.346),(-63.049,5.573),(-63.231,2.789),(-63.292,0),(-63.231,-2.789),(-63.049,-5.573),(-62.745,-8.346),(-62.321,-11.104),(-61.776,-13.84),(-61.113,-16.55),(-60.332,-19.229),(-59.436,-21.87)],
  [(-60.997,-22.435),(-61.916,-19.727),(-62.717,-16.98),(-63.397,-14.199),(-63.955,-11.392),(-64.391,-8.564),(-64.702,-5.717),(-64.889,-2.862),(-64.952,0),(-64.889,2.862),(-64.702,5.717),(-64.391,8.564),(-63.955,11.392),(-63.397,14.199),(-62.717,16.98),(-61.916,19.727),(-60.997,22.435),(-60.244,22.165),(-61.153,19.487),(-61.944,16.773),(-62.616,14.026),(-63.167,11.253),(-63.598,8.459),(-63.905,5.648),(-64.09,2.827),(-64.152,0),(-64.09,-2.827),(-63.905,-5.648),(-63.598,-8.459),(-63.167,-11.253),(-62.616,-14.026),(-61.944,-16.773),(-61.153,-19.487),(-60.244,-22.165)],
  [(-61.805,-22.729),(-62.736,-19.987),(-63.548,-17.202),(-64.236,-14.386),(-64.802,-11.542),(-65.243,-8.676),(-65.559,-5.793),(-65.749,-2.899),(-65.812,0),(-65.749,2.899),(-65.559,5.793),(-65.243,8.676),(-64.802,11.542),(-64.236,14.386),(-63.548,17.202),(-62.736,19.987),(-61.805,22.729),(-61.052,22.459),(-61.973,19.746),(-62.775,16.995),(-63.455,14.213),(-64.014,11.403),(-64.45,8.571),(-64.762,5.723),(-64.95,2.864),(-65.012,0),(-64.95,-2.864),(-64.762,-5.723),(-64.45,-8.571),(-64.014,-11.403),(-63.455,-14.213),(-62.775,-16.995),(-61.973,-19.746),(-61.052,-22.459)],
  [(-62.613,-23.023),(-63.556,-20.245),(-64.378,-17.425),(-65.076,-14.572),(-65.649,-11.691),(-66.096,-8.787),(-66.416,-5.868),(-66.608,-2.936),(-66.672,0),(-66.608,2.936),(-66.416,5.868),(-66.096,8.787),(-65.649,11.691),(-65.076,14.572),(-64.378,17.425),(-63.556,20.245),(-62.613,23.023),(-61.86,22.753),(-62.793,20.004),(-63.605,17.218),(-64.295,14.399),(-64.861,11.552),(-65.303,8.683),(-65.619,5.798),(-65.809,2.902),(-65.872,0),(-65.809,-2.902),(-65.619,-5.798),(-65.303,-8.683),(-64.861,-11.552),(-64.295,-14.399),(-63.605,-17.218),(-62.793,-20.004),(-61.86,-22.753)],
  [(-63.421,-23.318),(-64.376,-20.504),(-65.209,-17.648),(-65.916,-14.758),(-66.496,-11.84),(-66.949,-8.901),(-67.273,-5.942),(-67.467,-2.974),(-67.532,0),(-67.467,2.974),(-67.273,5.942),(-66.949,8.901),(-66.496,11.84),(-65.916,14.758),(-65.209,17.648),(-64.376,20.504),(-63.421,23.318),(-62.668,23.047),(-63.613,20.263),(-64.436,17.441),(-65.135,14.585),(-65.708,11.701),(-66.156,8.796),(-66.476,5.873),(-66.668,2.939),(-66.732,0),(-66.668,-2.939),(-66.476,-5.873),(-66.156,-8.796),(-65.708,-11.701),(-65.135,-14.585),(-64.436,-17.441),(-63.613,-20.263),(-62.668,-23.047)],
  [(-64.229,-23.612),(-65.196,-20.762),(-66.04,-17.87),(-66.755,-14.944),(-67.343,-11.99),(-67.801,-9.012),(-68.129,-6.018),(-68.326,-3.012),(-68.392,0),(-68.326,3.012),(-68.129,6.018),(-67.801,9.012),(-67.343,11.99),(-66.755,14.944),(-66.04,17.87),(-65.196,20.762),(-64.229,23.612),(-63.476,23.341),(-64.433,20.522),(-65.267,17.663),(-65.974,14.771),(-66.555,11.851),(-67.008,8.908),(-67.332,5.948),(-67.527,2.977),(-67.592,0),(-67.527,-2.977),(-67.332,-5.948),(-67.008,-8.908),(-66.555,-11.851),(-65.974,-14.771),(-65.267,-17.663),(-64.433,-20.522),(-63.476,-23.341)],
  [(-65.037,-23.906),(-66.017,-21.02),(-66.87,-18.093),(-67.595,-15.13),(-68.19,-12.139),(-68.654,-9.125),(-68.986,-6.093),(-69.185,-3.049),(-69.252,0),(-69.185,3.049),(-68.986,6.093),(-68.654,9.125),(-68.19,12.139),(-67.595,15.13),(-66.87,18.093),(-66.017,21.02),(-65.037,23.906),(-64.284,23.635),(-65.254,20.78),(-66.097,17.886),(-66.814,14.957),(-67.402,12),(-67.861,9.02),(-68.189,6.023),(-68.386,3.014),(-68.452,0),(-68.386,-3.014),(-68.189,-6.023),(-67.861,-9.02),(-67.402,-12),(-66.814,-14.957),(-66.097,-17.886),(-65.254,-20.78),(-64.284,-23.635)],
  [(-65.846,-24.199),(-66.837,-21.28),(-67.701,-18.315),(-68.435,-15.316),(-69.037,-12.288),(-69.506,-9.236),(-69.843,-6.167),(-70.044,-3.087),(-70.112,0),(-70.044,3.087),(-69.843,6.167),(-69.506,9.236),(-69.037,12.288),(-68.435,15.316),(-67.701,18.315),(-66.837,21.28),(-65.846,24.199),(-65.093,23.929),(-66.074,21.039),(-66.928,18.108),(-67.654,15.143),(-68.249,12.149),(-68.713,9.132),(-69.046,6.098),(-69.245,3.052),(-69.312,0),(-69.245,-3.052),(-69.046,-6.098),(-68.713,-9.132),(-68.249,-12.149),(-67.654,-15.143),(-66.928,-18.108),(-66.074,-21.039),(-65.093,-23.929)])
soi220_cband_tm_strip_ap.add(gdstk.Reference(text_gdsfactorypcomponen, (-70.512,-33.667)))

lib.write_gds('SOI220_cband_TM_strip_apodized_GC_focusing_EBL_v1p0.gds')
